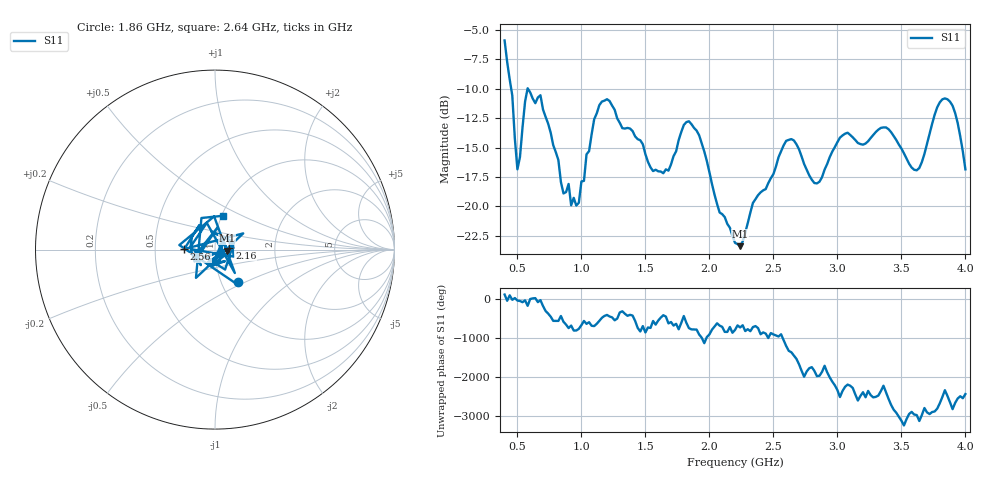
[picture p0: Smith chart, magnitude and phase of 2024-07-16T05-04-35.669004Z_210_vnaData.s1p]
!Created with skrf (http://scikit-rf.org).
# Hz S RI R 50.0
!freq ReS11 ImS11
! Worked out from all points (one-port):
!   181 points, 400 MHz to 4 GHz, reference 50 ohm
!   lowest |S11| = -23.4 dB at 2.24 GHz (marker M1), VSWR 1.15, Z = 57.2 - j0.661 ohm
!   |S11| at or under -10 dB: 451.3 MHz to 579.5 MHz (128.1 MHz wide, 24.9 % of centre); 581.7 MHz to end of sweep
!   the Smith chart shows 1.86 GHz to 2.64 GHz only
!   S11 on the Smith chart (normalised r, x): 1.86 GHz: 1.20, -0.46; 2.16 GHz: 1.17, +0.03; 2.56 GHz: 0.71, +0.00; 2.64 GHz: 1.01, +0.40
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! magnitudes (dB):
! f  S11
! 400 MHz  -5.9
! 460 MHz  -10.6
! 500 MHz  -16.9
! 580 MHz  -10.0
! 680 MHz  -10.6
! 860 MHz  -18.9
! 980 MHz  -19.7
! 1.1 GHz  -12.6
! 1.16 GHz  -11.1
! 1.3 GHz  -12.9
! 1.56 GHz  -17.0
! 1.68 GHz  -17.0
! 1.76 GHz  -14.4
! 1.86 GHz  -13.0
! 2.16 GHz  -21.8
! 2.2 GHz  -23.1
! 2.24 GHz  -23.4
! 2.56 GHz  -15.3
! 2.64 GHz  -14.3
! 2.66 GHz  -14.4
! 2.84 GHz  -18.0
! 3.1 GHz  -13.9
! 3.38 GHz  -13.3
! 3.56 GHz  -16.4
! 3.64 GHz  -16.7
! 3.84 GHz  -10.8
! 3.92 GHz  -12.1
! 4 GHz  -16.9
